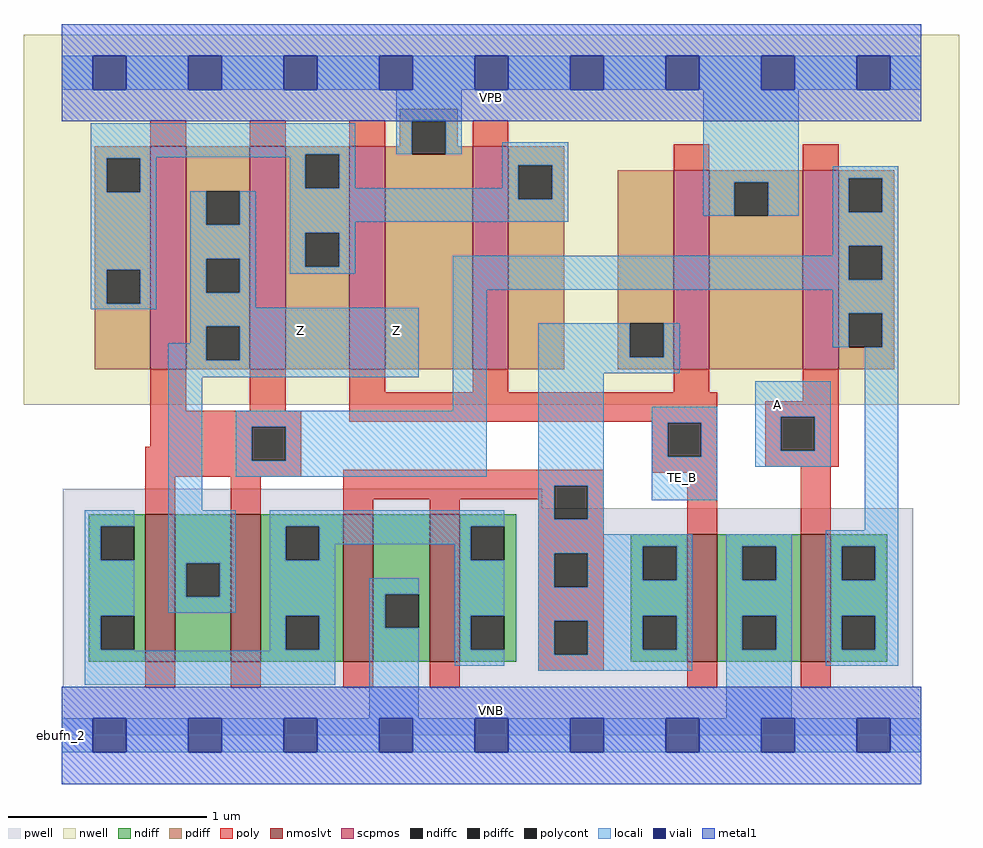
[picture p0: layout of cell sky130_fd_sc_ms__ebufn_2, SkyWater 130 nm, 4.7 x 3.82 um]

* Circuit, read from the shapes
.subckt sky130_fd_sc_ms__ebufn_2 A TE_B VGND VNB VPB VPWR Z
XM1 Z n1 n2 VNB sky130_fd_pr__nfet_01v8_lvt w=0.74 l=0.15 m=2
XM2 VGND n3 n2 VNB sky130_fd_pr__nfet_01v8_lvt w=0.74 l=0.15 m=2
XM3 VGND TE_B n3 VNB sky130_fd_pr__nfet_01v8_lvt w=0.64 l=0.15
XM4 n1 A VGND VNB sky130_fd_pr__nfet_01v8_lvt w=0.64 l=0.15
XM5 Z n1 n4 VPB sky130_fd_pr__pfet_01v8 w=1.12 l=0.18 m=2
XM6 VPWR TE_B n4 VPB sky130_fd_pr__pfet_01v8 w=1.12 l=0.18 m=2
XM7 VPWR TE_B n3 VPB sky130_fd_pr__pfet_01v8 w=1 l=0.18
XM8 n1 A VPWR VPB sky130_fd_pr__pfet_01v8 w=1 l=0.18
.ends

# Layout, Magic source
magic
tech sky130A
magscale 1 2
<< nwell >>
rect -38 332 902 704
<< pwell >>
rect 1 228 483 248
rect 1 49 856 228
rect 0 0 864 49
<< scpmos >>
rect 89 368 125 592
rect 189 368 225 592
rect 289 368 325 592
rect 413 368 449 592
rect 615 368 651 568
rect 745 368 781 568
<< nmoslvt >>
rect 84 74 114 222
rect 170 74 200 222
rect 283 74 313 222
rect 370 74 400 222
rect 629 74 659 202
rect 743 74 773 202
<< ndiff >>
rect 27 210 84 222
rect 27 176 39 210
rect 73 176 84 210
rect 27 120 84 176
rect 27 86 39 120
rect 73 86 84 120
rect 27 74 84 86
rect 114 173 170 222
rect 114 139 125 173
rect 159 139 170 173
rect 114 74 170 139
rect 200 210 283 222
rect 200 176 225 210
rect 259 176 283 210
rect 200 120 283 176
rect 200 86 225 120
rect 259 86 283 120
rect 200 74 283 86
rect 313 142 370 222
rect 313 108 325 142
rect 359 108 370 142
rect 313 74 370 108
rect 400 210 457 222
rect 400 176 411 210
rect 445 176 457 210
rect 400 120 457 176
rect 400 86 411 120
rect 445 86 457 120
rect 400 74 457 86
rect 572 190 629 202
rect 572 156 584 190
rect 618 156 629 190
rect 572 120 629 156
rect 572 86 584 120
rect 618 86 629 120
rect 572 74 629 86
rect 659 190 743 202
rect 659 156 684 190
rect 718 156 743 190
rect 659 120 743 156
rect 659 86 684 120
rect 718 86 743 120
rect 659 74 743 86
rect 773 190 830 202
rect 773 156 784 190
rect 818 156 830 190
rect 773 120 830 156
rect 773 86 784 120
rect 818 86 830 120
rect 773 74 830 86
<< pdiff >>
rect 340 618 398 630
rect 340 592 352 618
rect 33 580 89 592
rect 33 546 45 580
rect 79 546 89 580
rect 33 468 89 546
rect 33 434 45 468
rect 79 434 89 468
rect 33 368 89 434
rect 125 547 189 592
rect 125 513 145 547
rect 179 513 189 547
rect 125 479 189 513
rect 125 445 145 479
rect 179 445 189 479
rect 125 411 189 445
rect 125 377 145 411
rect 179 377 189 411
rect 125 368 189 377
rect 225 584 289 592
rect 225 550 245 584
rect 279 550 289 584
rect 225 505 289 550
rect 225 471 245 505
rect 279 471 289 505
rect 225 368 289 471
rect 325 584 352 592
rect 386 592 398 618
rect 386 584 413 592
rect 325 368 413 584
rect 449 573 505 592
rect 449 539 459 573
rect 493 539 505 573
rect 449 368 505 539
rect 559 414 615 568
rect 559 380 571 414
rect 605 380 615 414
rect 559 368 615 380
rect 651 556 745 568
rect 651 522 676 556
rect 710 522 745 556
rect 651 368 745 522
rect 781 560 837 568
rect 781 526 791 560
rect 825 526 837 560
rect 781 492 837 526
rect 781 458 791 492
rect 825 458 837 492
rect 781 424 837 458
rect 781 390 791 424
rect 825 390 837 424
rect 781 368 837 390
<< ndiffc >>
rect 39 176 73 210
rect 39 86 73 120
rect 125 139 159 173
rect 225 176 259 210
rect 225 86 259 120
rect 325 108 359 142
rect 411 176 445 210
rect 411 86 445 120
rect 584 156 618 190
rect 584 86 618 120
rect 684 156 718 190
rect 684 86 718 120
rect 784 156 818 190
rect 784 86 818 120
<< pdiffc >>
rect 45 546 79 580
rect 45 434 79 468
rect 145 513 179 547
rect 145 445 179 479
rect 145 377 179 411
rect 245 550 279 584
rect 245 471 279 505
rect 352 584 386 618
rect 459 539 493 573
rect 571 380 605 414
rect 676 522 710 556
rect 791 526 825 560
rect 791 458 825 492
rect 791 390 825 424
<< poly >>
rect 89 592 125 618
rect 189 592 225 618
rect 289 592 325 618
rect 413 592 449 618
rect 615 568 651 594
rect 745 568 781 594
rect 89 326 125 368
rect 189 326 225 368
rect 289 345 325 368
rect 413 345 449 368
rect 615 345 651 368
rect 89 310 241 326
rect 289 315 659 345
rect 745 336 781 368
rect 89 290 191 310
rect 84 276 191 290
rect 225 276 241 310
rect 84 260 241 276
rect 593 314 659 315
rect 593 280 609 314
rect 643 280 659 314
rect 84 222 114 260
rect 170 222 200 260
rect 283 251 545 267
rect 593 264 659 280
rect 707 320 781 336
rect 707 286 723 320
rect 757 286 781 320
rect 707 270 781 286
rect 283 237 495 251
rect 283 222 313 237
rect 370 222 400 237
rect 479 217 495 237
rect 529 217 545 251
rect 479 183 545 217
rect 629 202 659 264
rect 743 202 773 270
rect 479 149 495 183
rect 529 149 545 183
rect 479 115 545 149
rect 479 81 495 115
rect 529 81 545 115
rect 84 48 114 74
rect 170 48 200 74
rect 283 48 313 74
rect 370 48 400 74
rect 479 65 545 81
rect 629 48 659 74
rect 743 48 773 74
<< polycont >>
rect 191 276 225 310
rect 609 280 643 314
rect 723 286 757 320
rect 495 217 529 251
rect 495 149 529 183
rect 495 81 529 115
<< locali >>
rect 0 649 31 683
rect 65 649 127 683
rect 161 649 223 683
rect 257 649 319 683
rect 353 649 415 683
rect 449 649 511 683
rect 545 649 607 683
rect 641 649 703 683
rect 737 649 799 683
rect 833 649 864 683
rect 336 618 402 649
rect 29 584 295 615
rect 336 584 352 618
rect 386 584 402 618
rect 29 581 245 584
rect 29 580 95 581
rect 29 546 45 580
rect 79 546 95 580
rect 229 550 245 581
rect 279 550 295 584
rect 443 573 509 596
rect 443 550 459 573
rect 29 468 95 546
rect 29 434 45 468
rect 79 434 95 468
rect 29 428 95 434
rect 129 513 145 547
rect 179 513 195 547
rect 129 479 195 513
rect 129 445 145 479
rect 179 445 195 479
rect 229 539 459 550
rect 493 539 509 573
rect 229 516 509 539
rect 645 556 741 649
rect 645 522 676 556
rect 710 522 741 556
rect 775 560 841 572
rect 775 526 791 560
rect 825 526 841 560
rect 229 505 295 516
rect 229 471 245 505
rect 279 471 295 505
rect 775 492 841 526
rect 775 482 791 492
rect 229 464 295 471
rect 129 430 195 445
rect 393 458 791 482
rect 825 458 841 492
rect 393 448 841 458
rect 129 411 359 430
rect 129 394 145 411
rect 107 377 145 394
rect 179 377 359 411
rect 107 360 359 377
rect 107 226 141 360
rect 393 326 427 448
rect 775 424 841 448
rect 175 310 427 326
rect 175 276 191 310
rect 225 276 427 310
rect 175 260 427 276
rect 479 380 571 414
rect 605 380 621 414
rect 775 390 791 424
rect 825 390 841 424
rect 479 364 621 380
rect 479 251 545 364
rect 23 210 73 226
rect 23 176 39 210
rect 23 120 73 176
rect 107 173 175 226
rect 107 139 125 173
rect 159 139 175 173
rect 107 123 175 139
rect 209 210 445 226
rect 209 176 225 210
rect 259 192 411 210
rect 259 176 275 192
rect 23 86 39 120
rect 23 85 73 86
rect 209 120 275 176
rect 395 176 411 192
rect 209 86 225 120
rect 259 86 275 120
rect 209 85 275 86
rect 23 51 275 85
rect 309 142 359 158
rect 309 108 325 142
rect 309 17 359 108
rect 395 120 445 176
rect 395 86 411 120
rect 395 70 445 86
rect 479 217 495 251
rect 529 217 545 251
rect 593 314 659 330
rect 593 280 609 314
rect 643 280 659 314
rect 593 236 659 280
rect 697 320 773 356
rect 697 286 723 320
rect 757 286 773 320
rect 697 270 773 286
rect 479 202 545 217
rect 807 206 841 390
rect 479 190 634 202
rect 479 183 584 190
rect 479 149 495 183
rect 529 156 584 183
rect 618 156 634 190
rect 529 149 634 156
rect 479 120 634 149
rect 479 115 584 120
rect 479 81 495 115
rect 529 86 584 115
rect 618 86 634 120
rect 529 81 634 86
rect 479 65 634 81
rect 668 190 734 202
rect 668 156 684 190
rect 718 156 734 190
rect 668 120 734 156
rect 668 86 684 120
rect 718 86 734 120
rect 668 17 734 86
rect 768 190 841 206
rect 768 156 784 190
rect 818 156 841 190
rect 768 120 841 156
rect 768 86 784 120
rect 818 86 841 120
rect 768 70 841 86
rect 0 -17 31 17
rect 65 -17 127 17
rect 161 -17 223 17
rect 257 -17 319 17
rect 353 -17 415 17
rect 449 -17 511 17
rect 545 -17 607 17
rect 641 -17 703 17
rect 737 -17 799 17
rect 833 -17 864 17
<< viali >>
rect 31 649 65 683
rect 127 649 161 683
rect 223 649 257 683
rect 319 649 353 683
rect 415 649 449 683
rect 511 649 545 683
rect 607 649 641 683
rect 703 649 737 683
rect 799 649 833 683
rect 31 -17 65 17
rect 127 -17 161 17
rect 223 -17 257 17
rect 319 -17 353 17
rect 415 -17 449 17
rect 511 -17 545 17
rect 607 -17 641 17
rect 703 -17 737 17
rect 799 -17 833 17
<< metal1 >>
rect 0 683 864 715
rect 0 649 31 683
rect 65 649 127 683
rect 161 649 223 683
rect 257 649 319 683
rect 353 649 415 683
rect 449 649 511 683
rect 545 649 607 683
rect 641 649 703 683
rect 737 649 799 683
rect 833 649 864 683
rect 0 617 864 649
rect 0 17 864 49
rect 0 -17 31 17
rect 65 -17 127 17
rect 161 -17 223 17
rect 257 -17 319 17
rect 353 -17 415 17
rect 449 -17 511 17
rect 545 -17 607 17
rect 641 -17 703 17
rect 737 -17 799 17
rect 833 -17 864 17
rect 0 -49 864 -17
<< labels >>
flabel pwell s 0 0 864 49 0 FreeSans 200 0 0 0 VNB
port 4 nsew ground bidirectional
flabel nwell s 0 617 864 666 0 FreeSans 200 0 0 0 VPB
port 5 nsew power bidirectional
rlabel comment s 0 0 0 0 4 ebufn_2
flabel metal1 s 0 617 864 666 0 FreeSans 340 0 0 0 VPWR
port 6 nsew power bidirectional
flabel metal1 s 0 0 864 49 0 FreeSans 340 0 0 0 VGND
port 3 nsew ground bidirectional
flabel locali s 223 390 257 424 0 FreeSans 340 0 0 0 Z
port 7 nsew signal output
flabel locali s 319 390 353 424 0 FreeSans 340 0 0 0 Z
port 7 nsew signal output
flabel locali s 607 242 641 276 0 FreeSans 340 0 0 0 TE_B
port 2 nsew signal input
flabel locali s 703 316 737 350 0 FreeSans 340 0 0 0 A
port 1 nsew signal input
<< properties >>
string LEFsite unit
string LEFclass CORE
string FIXED_BBOX 0 0 864 666
string GDS_FILE $PDKPATH/libs.ref/sky130_fd_sc_ms/gds/sky130_fd_sc_ms.gds
string LEFsymmetry X Y
string GDS_END 1274846
string GDS_START 1267846
<< end >>
